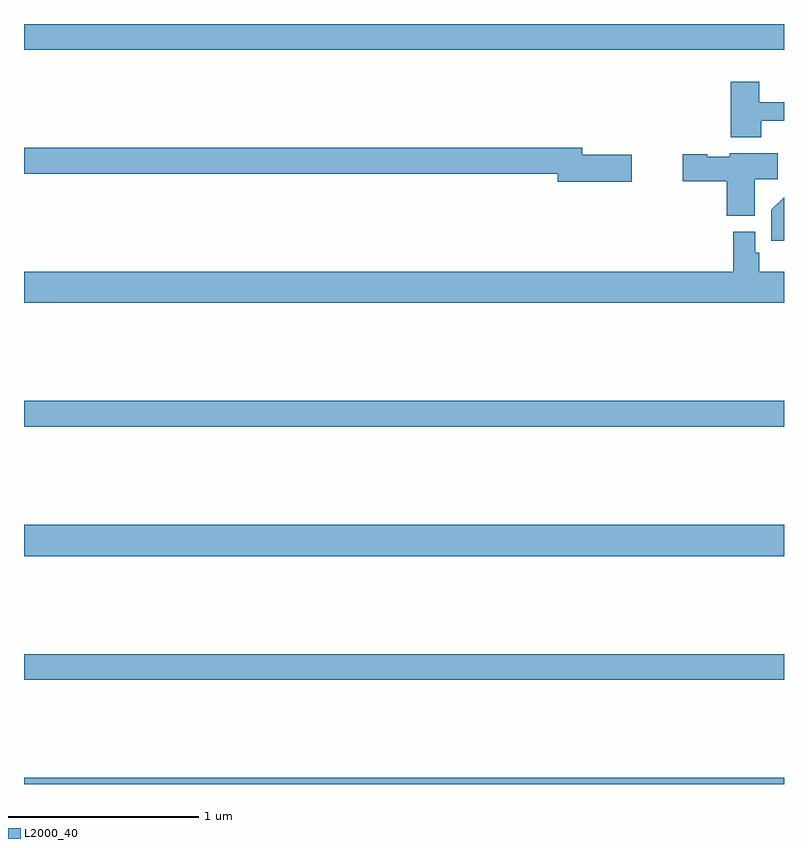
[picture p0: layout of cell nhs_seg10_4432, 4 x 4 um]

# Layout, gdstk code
import gdstk
lib = gdstk.Library(unit=1e-6, precision=1e-09)
def R(c, l, rs):  # rectangles x0, y0, x1, y1
    for r in rs: c.add(gdstk.rectangle(r[:2], r[2:], *l))
def P(c, l, *ps):  # polygons
    for p in ps: c.add(gdstk.Polygon(p, *l))
L2000_40 = (2000, 40)

nhs_seg10_4432 = lib.new_cell('nhs_seg10_4432')
R(nhs_seg10_4432, L2000_40, [(363,1248.5,367,1248.532), (363,1249.048,367,1249.184), (363,1249.7,367,1249.864), (363,1250.38,367,1250.516), (363,1252.364,367,1252.5)])
P(nhs_seg10_4432, L2000_40, [(366.879,1251.99),(367,1251.99),(367,1252.089),(366.871,1252.089),(366.871,1252.195),(366.719,1252.195),(366.719,1251.905),(366.879,1251.905)],
  [(366.199,1251.812),(365.938,1251.812),(365.938,1251.848),(363,1251.848),(363,1251.712),(365.81,1251.712),(365.81,1251.67),(366.199,1251.67)],
  [(366.847,1251.682),(366.968,1251.682),(366.968,1251.82),(366.714,1251.82),(366.714,1251.802),(366.597,1251.802),(366.597,1251.815),(366.468,1251.815),(366.468,1251.673),(366.698,1251.673),(366.698,1251.491),(366.847,1251.491)],
  [(367,1251.588),(366.934,1251.522),(366.934,1251.36),(367,1251.36)],
  [(367,1251.196),(366.869,1251.196),(366.869,1251.297),(366.849,1251.297),(366.849,1251.406),(366.733,1251.406),(366.733,1251.196),(363,1251.196),(363,1251.032),(367,1251.032)])

lib.write_gds('nhs_seg10_4432.gds')
